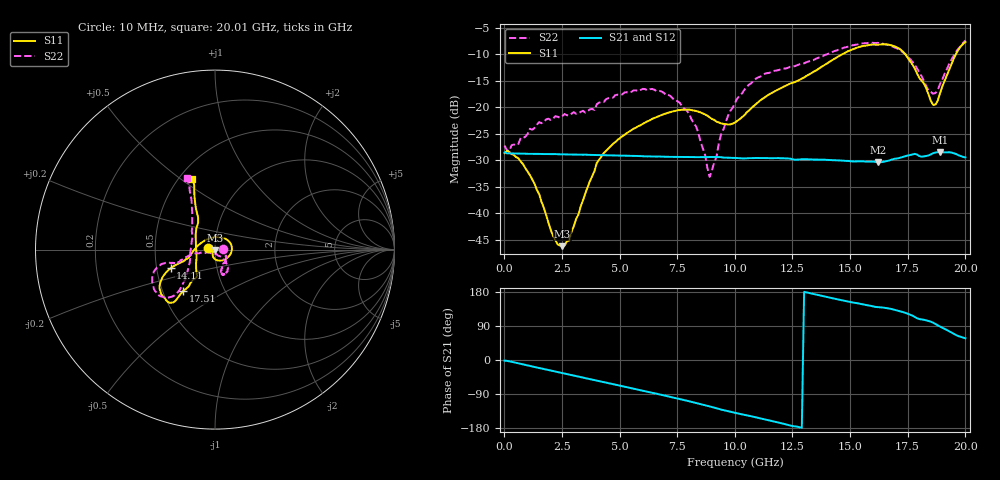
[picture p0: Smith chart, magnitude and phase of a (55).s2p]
! Hittite Microwave Corporation
! 2 Elizabeth Drive
! Chelmsford, MA 01824
! http://www.hittite.com
! Tel: 978-250-3343
! Fax: 978-250-3373
! Device:  HMC424LP3
! Description: 0.5 dB GaAs MMIC 6-Bit Digital Attenuator
! Frequency:  DC -  13.00 GHz
! Package:  LP3  - 3x3 mm Quad Flatpack No-Lead (QFN) Plastic Package: 16 pin
! Ports:  2 RF, 7 DC
!  Pad  1  = Ground
!  Pad  2  = RF IN  =  Port 1
!  Pad  3  = Ground
!  Pad  4  = V6
!  Pad  5  = V5
!  Pad  6  = V4
!  Pad  7  = V3
!  Pad  8  = V2
!  Pad  9  = V1
!  Pad 10  = Ground
!  Pad 11  = RF OUT  = Port 2
!  Pad 12  = Ground
!  Pad 15  = VEE
! Control:  -5 Volt control voltage
! State:  53
! Attenuation:  26.5 dB
! Voltages:  Vdd = -5.00 Volts  Idd =  -2.518 mA
!  V1  = -5.00 Volts  I1  =  -1.0 uA
!  V2  = 0.00 Volts  I2  =  29.0 uA
!  V3  = -5.00 Volts  I3  =  -1.0 uA
!  V4  = 0.00 Volts  I4  =  30.0 uA
!  V5  = -5.00 Volts  I5  =  -1.0 uA
!  V6  = -5.00 Volts  I6  =  -1.0 uA
! Data:  The device was measured on evaluation board 105354-1.
!  Data was collected using a calibrated network analyzer.
!  The evaluation circuit board was modeled and simulated.  This was use
!  to removed the evaluation board circuit from the measured data.
!  The reference plane is the edge of the package pin.
! Misc:  Lot xxxx, Unit 1
!  Application 20120001, Data collected in Application 20090083
! Date Measured:  2009-09-15
! Date:  2012-05-14  MJV
! Note:
!  Hittite supplies this data as a sample of measured data at the package pin
!  for this product.  Your particular data for this product may vary.
!  Data was taken at 25 degrees C.
!  Hittite reserves the right to change this data at anytime.
# GHz S MA R 50
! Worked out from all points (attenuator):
!   201 points, 10 MHz to 20.01 GHz, reference 50 ohm
!   highest |S21| = -28.46 dB at 18.91 GHz (marker M1); lowest = -30.4 dB at 16.21 GHz (marker M2)
!   lowest |S11| = -46.2 dB at 2.51 GHz (marker M3), VSWR 1.01, Z = 49.8 - j0.454 ohm
!   |S11| at or under -10 dB: start of sweep to 14.67 GHz; 17.4 GHz to 19.6 GHz (2.198 GHz wide, 11.9 % of centre)
!   |S22| runs from -33.2 to -7.4 dB; largest |S21 - S12| = 0.00072
!   S11 on the Smith chart (normalised r, x): 10 MHz: 0.93, +0.01; 14.11 GHz: 0.59, -0.13; 17.51 GHz: 0.63, -0.32; 20.01 GHz: 0.58, +0.55
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0.01  0.03686 169.7  0.03745 -1.6  0.03681 -2.1  0.0434 7.8
1.11  0.02276 -165.2  0.03623 -15.6  0.03628 -15.6  0.06257 -27.5
2.11  0.006112 -130.2  0.03605 -29.0  0.03595 -29.1  0.07764 -36.4
2.51  0.004873 -110.7  0.03588 -34.5  0.03589 -34.4  0.08223 -41.7
2.81  0.005513 -120.9  0.03574 -38.4  0.03574 -38.5  0.08338 -44.4
3.41  0.01319 -128.9  0.03557 -46.3  0.03556 -46.4  0.09246 -54.2
4.31  0.03687 -109.6  0.03527 -58.3  0.03521 -58.5  0.1116 -71.7
6.71  0.08224 -34.3  0.03423 -90.5  0.03409 -90.5  0.1428 -63.3
8.01  0.09486 14.3  0.03382 -108.9  0.03378 -108.8  0.08719 -48.0
8.41  0.09083 29.4  0.03376 -114.8  0.03366 -114.8  0.05854 -48.1
8.91  0.08006 52.3  0.03385 -122.5  0.03379 -122.5  0.02193 -101.6
9.41  0.07021 83.6  0.0337 -130.9  0.03367 -130.9  0.05589 -160.1
10.01  0.07158 127.2  0.03314 -139.3  0.03312 -139.3  0.1098 -169.0
11.21  0.12 -176.9  0.0331 -155.4  0.03303 -155.5  0.2022 -162.7
13.41  0.2145 -159.2  0.03201 174.3  0.03191 174.3  0.2782 -164.7
14.11  0.2683 -157.2  0.03167 164.7  0.03165 164.7  0.323 -163.9
16.21  0.3889 -136.3  0.0301 139.4  0.03005 139.4  0.405 -141.7
16.71  0.3883 -130.2  0.0314 135.6  0.03137 135.8  0.3838 -135.6
17.51  0.2927 -127.6  0.035 122.1  0.03482 122.1  0.2997 -131.2
18.61  0.1051 -168.4  0.03679 98.4  0.03669 98.5  0.1338 175.1
18.91  0.1359 142.6  0.03777 88.3  0.03767 88.1  0.1657 141.4
20.01  0.4127 107.9  0.03353 57.3  0.03367 57.4  0.4266 111.5
